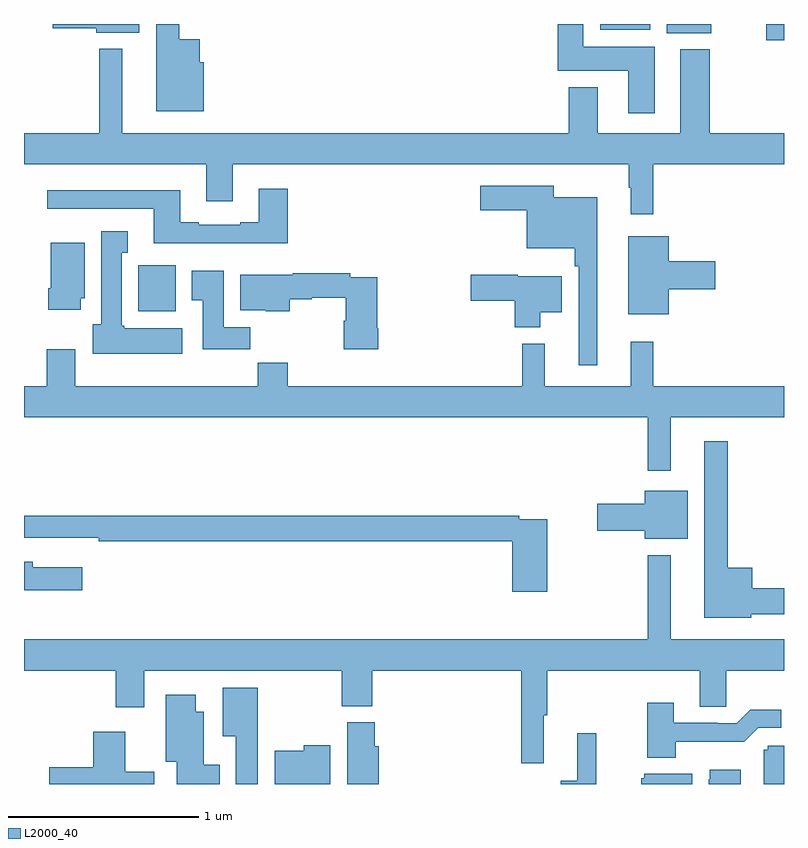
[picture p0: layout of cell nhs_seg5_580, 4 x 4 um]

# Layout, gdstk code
import gdstk
lib = gdstk.Library(unit=1e-6, precision=1e-09)
def R(c, l, rs):  # rectangles x0, y0, x1, y1
    for r in rs: c.add(gdstk.rectangle(r[:2], r[2:], *l))
def P(c, l, *ps):  # polygons
    for p in ps: c.add(gdstk.Polygon(p, *l))
L2000_40 = (2000, 40)

nhs_seg5_580 = lib.new_cell('nhs_seg5_580')
R(nhs_seg5_580, L2000_40, [(147.602,889.286,147.799,889.528), (150.906,890.714,151,890.799), (150.383,890.75,150.616,890.799), (150.032,890.768,150.295,890.799)])
P(nhs_seg5_580, L2000_40, [(147.607,890.799),(147.15,890.799),(147.15,890.777),(147.38,890.777),(147.38,890.753),(147.607,890.753)],
  [(150.319,890.68),(149.944,890.68),(149.944,890.799),(149.81,890.799),(149.81,890.552),(150.179,890.552),(150.179,890.328),(150.319,890.328)],
  [(147.946,890.598),(147.925,890.598),(147.925,890.719),(147.817,890.719),(147.817,890.799),(147.695,890.799),(147.695,890.339),(147.946,890.339)],
  [(150.311,890.06),(151,890.06),(151,890.224),(150.608,890.224),(150.608,890.665),(150.455,890.665),(150.455,890.224),(150.019,890.224),(150.019,890.467),(149.867,890.467),(149.867,890.224),(147.517,890.224),(147.517,890.668),(147.396,890.668),(147.396,890.224),(147,890.224),(147,890.06),(147.959,890.06),(147.959,889.866),(148.099,889.866),(148.099,890.06),(150.183,890.06),(150.183,889.937),(150.194,889.937),(150.194,889.797),(150.311,889.797)],
  [(150.016,889.888),(149.788,889.888),(149.788,889.948),(149.4,889.948),(149.4,889.819),(149.645,889.819),(149.645,889.619),(149.899,889.619),(149.899,889.523),(149.919,889.523),(149.919,889.002),(150.016,889.002)],
  [(148.388,889.933),(148.235,889.933),(148.235,889.756),(148.139,889.756),(148.139,889.743),(147.919,889.743),(147.919,889.756),(147.823,889.756),(147.823,889.924),(147.123,889.924),(147.123,889.827),(147.683,889.827),(147.683,889.646),(148.388,889.646)],
  [(147.832,889.198),(147.528,889.198),(147.528,889.212),(147.514,889.212),(147.514,889.595),(147.547,889.595),(147.547,889.708),(147.407,889.708),(147.407,889.218),(147.362,889.218),(147.362,889.064),(147.832,889.064)],
  [(150.394,889.403),(150.637,889.403),(150.637,889.55),(150.394,889.55),(150.394,889.681),(150.179,889.681),(150.179,889.271),(150.394,889.271)],
  [(147.298,889.356),(147.319,889.356),(147.319,889.648),(147.14,889.648),(147.14,889.408),(147.128,889.408),(147.128,889.296),(147.298,889.296)],
  [(148.19,889.204),(148.051,889.204),(148.051,889.501),(147.884,889.501),(147.884,889.345),(147.941,889.345),(147.941,889.086),(148.19,889.086)],
  [(148.865,889.198),(148.86,889.198),(148.86,889.467),(148.718,889.467),(148.718,889.487),(148.415,889.487),(148.415,889.48),(148.139,889.48),(148.139,889.292),(148.272,889.292),(148.272,889.286),(148.398,889.286),(148.398,889.351),(148.515,889.351),(148.515,889.359),(148.694,889.359),(148.694,889.236),(148.682,889.236),(148.682,889.086),(148.865,889.086)],
  [(149.716,889.283),(149.83,889.283),(149.83,889.471),(149.598,889.471),(149.598,889.479),(149.352,889.479),(149.352,889.342),(149.582,889.342),(149.582,889.202),(149.716,889.202)],
  [(150.403,888.728),(151,888.728),(151,888.892),(150.311,888.892),(150.311,889.126),(150.194,889.126),(150.194,888.892),(149.741,888.892),(149.741,889.117),(149.623,889.117),(149.623,888.892),(148.388,888.892),(148.388,889.016),(148.231,889.016),(148.231,888.892),(147.271,888.892),(147.271,889.087),(147.119,889.087),(147.119,888.892),(147,888.892),(147,888.728),(150.282,888.728),(150.282,888.447),(150.403,888.447)],
  [(150.828,887.693),(151,887.693),(151,887.828),(150.832,887.828),(150.832,887.938),(150.703,887.938),(150.703,888.604),(150.581,888.604),(150.581,887.675),(150.828,887.675)],
  [(150.493,888.343),(150.266,888.343),(150.266,888.273),(150.018,888.273),(150.018,888.131),(150.266,888.131),(150.266,888.089),(150.493,888.089)],
  [(149.753,888.192),(149.606,888.192),(149.606,888.212),(147,888.212),(147,888.096),(147.142,888.096),(147.142,888.095),(147.394,888.095),(147.394,888.076),(149.57,888.076),(149.57,887.811),(149.753,887.811)],
  [(149.735,887.16),(149.753,887.16),(149.753,887.396),(150.557,887.396),(150.557,887.206),(150.696,887.206),(150.696,887.396),(151,887.396),(151,887.56),(150.403,887.56),(150.403,888.004),(150.282,888.004),(150.282,887.56),(147,887.56),(147,887.396),(147.482,887.396),(147.482,887.202),(147.634,887.202),(147.634,887.396),(148.672,887.396),(148.672,887.209),(148.832,887.209),(148.832,887.396),(149.617,887.396),(149.617,886.908),(149.735,886.908)],
  [(147.307,887.941),(147.046,887.941),(147.046,887.97),(147,887.97),(147,887.819),(147.307,887.819)],
  [(148.231,887.305),(148.046,887.305),(148.046,887.051),(148.115,887.051),(148.115,886.799),(148.231,886.799)],
  [(148.03,886.9),(147.946,886.9),(147.946,887.179),(147.904,887.179),(147.904,887.269),(147.746,887.269),(147.746,886.916),(147.803,886.916),(147.803,886.799),(148.03,886.799)],
  [(150.429,887.022),(150.791,887.022),(150.864,887.094),(150.985,887.094),(150.985,887.191),(150.823,887.191),(150.75,887.118),(150.65,887.118),(150.65,887.121),(150.421,887.121),(150.421,887.227),(150.281,887.227),(150.281,886.937),(150.429,886.937)],
  [(148.868,886.998),(148.847,886.998),(148.847,887.124),(148.7,887.124),(148.7,886.799),(148.868,886.799)],
  [(147.685,886.863),(147.532,886.863),(147.532,887.074),(147.365,887.074),(147.365,886.886),(147.132,886.886),(147.132,886.799),(147.685,886.799)],
  [(150.012,887.065),(149.912,887.065),(149.912,886.817),(149.826,886.817),(149.826,886.799),(150.012,886.799)],
  [(148.612,887.002),(148.473,887.002),(148.473,886.975),(148.319,886.975),(148.319,886.799),(148.612,886.799)],
  [(151,887.001),(150.915,887.001),(150.915,886.98),(150.893,886.98),(150.893,886.799),(151,886.799)],
  [(150.772,886.873),(150.608,886.873),(150.608,886.824),(150.603,886.824),(150.603,886.799),(150.772,886.799)],
  [(150.518,886.852),(150.264,886.852),(150.264,886.83),(150.248,886.83),(150.248,886.799),(150.518,886.799)])

lib.write_gds('nhs_seg5_580.gds')
